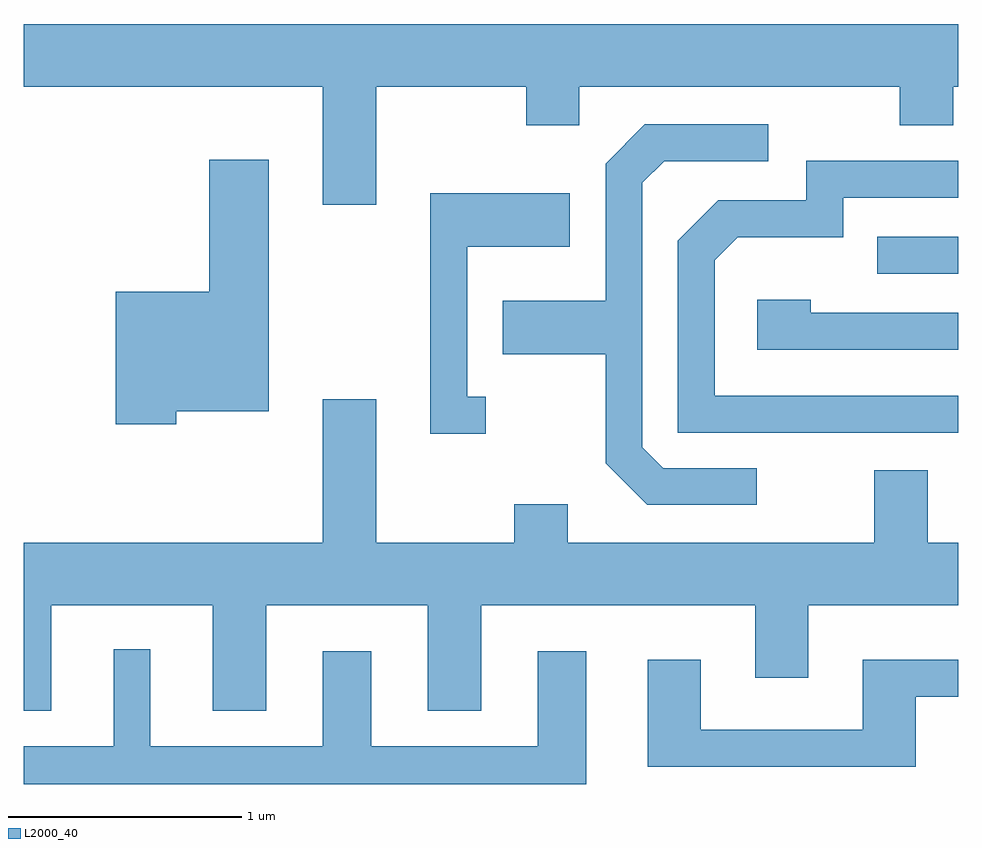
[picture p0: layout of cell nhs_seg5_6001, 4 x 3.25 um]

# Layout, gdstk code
import gdstk
lib = gdstk.Library(unit=1e-6, precision=1e-09)
def R(c, l, rs):  # rectangles x0, y0, x1, y1
    for r in rs: c.add(gdstk.rectangle(r[:2], r[2:], *l))
def P(c, l, *ps):  # polygons
    for p in ps: c.add(gdstk.Polygon(p, *l))
L2000_40 = (2000, 40)

nhs_seg5_6001 = lib.new_cell('nhs_seg5_6001')
R(nhs_seg5_6001, L2000_40, [(367.263,1418.256,367.611,1418.414)])
P(nhs_seg5_6001, L2000_40, [(365.119,1419.056),(365.761,1419.056),(365.761,1418.891),(365.989,1418.891),(365.989,1419.056),(367.361,1419.056),(367.361,1418.891),(367.589,1418.891),(367.589,1419.056),(367.611,1419.056),(367.611,1419.324),(363.611,1419.324),(363.611,1419.056),(364.891,1419.056),(364.891,1418.551),(365.119,1418.551)],
  [(366.748,1417.424),(366.347,1417.424),(366.259,1417.512),(366.259,1418.644),(366.352,1418.736),(366.798,1418.736),(366.798,1418.894),(366.269,1418.894),(366.101,1418.727),(366.101,1418.139),(365.661,1418.139),(365.661,1417.911),(366.101,1417.911),(366.101,1417.444),(366.279,1417.266),(366.748,1417.266)],
  [(364.264,1417.666),(364.659,1417.666),(364.659,1418.744),(364.406,1418.744),(364.406,1418.179),(364.006,1418.179),(364.006,1417.611),(364.264,1417.611)],
  [(367.611,1417.734),(366.569,1417.734),(366.569,1418.314),(366.667,1418.411),(367.119,1418.411),(367.119,1418.581),(367.611,1418.581),(367.611,1418.739),(366.961,1418.739),(366.961,1418.569),(366.584,1418.569),(366.411,1418.397),(366.411,1417.576),(367.611,1417.576)],
  [(365.588,1417.729),(365.509,1417.729),(365.509,1418.371),(365.949,1418.371),(365.949,1418.599),(365.351,1418.599),(365.351,1417.571),(365.588,1417.571)],
  [(367.611,1418.089),(366.979,1418.089),(366.979,1418.144),(366.751,1418.144),(366.751,1417.931),(367.611,1417.931)],
  [(363.729,1416.836),(364.421,1416.836),(364.421,1416.386),(364.649,1416.386),(364.649,1416.836),(365.341,1416.836),(365.341,1416.386),(365.569,1416.386),(365.569,1416.836),(366.741,1416.836),(366.741,1416.526),(366.969,1416.526),(366.969,1416.836),(367.611,1416.836),(367.611,1417.104),(367.479,1417.104),(367.479,1417.414),(367.251,1417.414),(367.251,1417.104),(365.939,1417.104),(365.939,1417.269),(365.711,1417.269),(365.711,1417.104),(365.119,1417.104),(365.119,1417.719),(364.891,1417.719),(364.891,1417.104),(363.611,1417.104),(363.611,1416.386),(363.729,1416.386)],
  [(366.019,1416.639),(365.811,1416.639),(365.811,1416.234),(365.099,1416.234),(365.099,1416.639),(364.891,1416.639),(364.891,1416.234),(364.154,1416.234),(364.154,1416.648),(363.996,1416.648),(363.996,1416.234),(363.611,1416.234),(363.611,1416.072),(366.019,1416.072)],
  [(367.429,1416.446),(367.611,1416.446),(367.611,1416.604),(367.201,1416.604),(367.201,1416.304),(366.509,1416.304),(366.509,1416.604),(366.281,1416.604),(366.281,1416.146),(367.429,1416.146)])

lib.write_gds('nhs_seg5_6001.gds')
